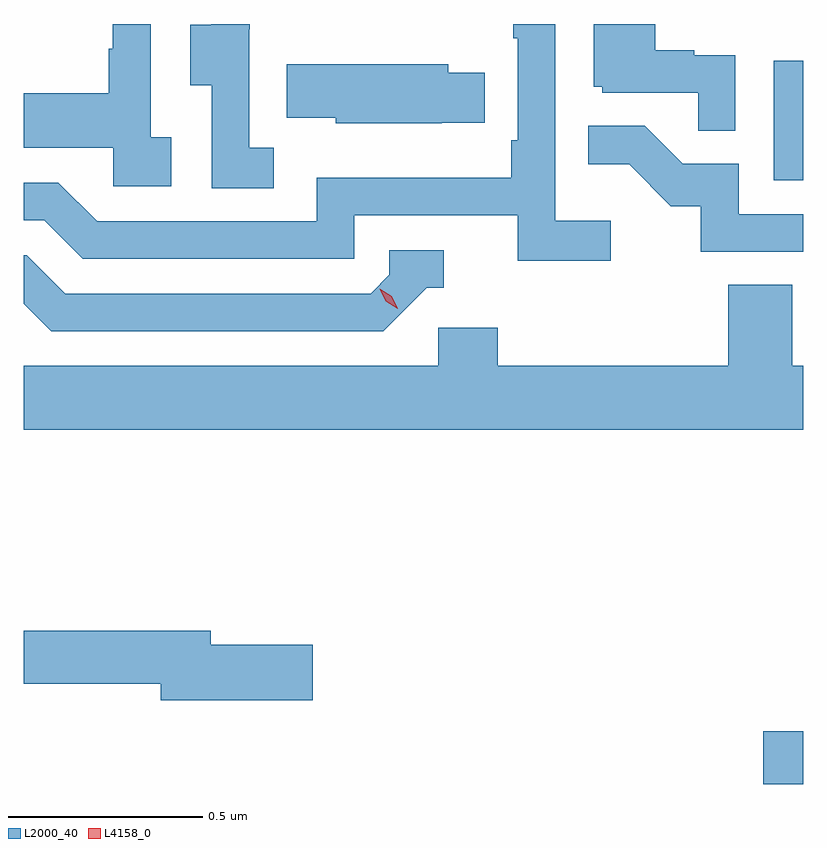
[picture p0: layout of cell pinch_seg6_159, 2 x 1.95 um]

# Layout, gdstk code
import gdstk
lib = gdstk.Library(unit=1e-6, precision=1e-09)
def R(c, l, rs):  # rectangles x0, y0, x1, y1
    for r in rs: c.add(gdstk.rectangle(r[:2], r[2:], *l))
def P(c, l, *ps):  # polygons
    for p in ps: c.add(gdstk.Polygon(p, *l))
L2000_40 = (2000, 40)
L4158_0 = (4158, 0)

pinch_seg6_159 = lib.new_cell('pinch_seg6_159')
R(pinch_seg6_159, L2000_40, [(962.538,934.439,962.64,934.574), (962.564,935.988,962.64,936.295)])
P(pinch_seg6_159, L2000_40, [(962.146,935.884),(962.004,935.884),(962.004,936.389),(961.896,936.389),(961.896,936.352),(961.908,936.352),(961.908,936.091),(961.891,936.091),(961.891,935.995),(961.392,935.995),(961.392,935.883),(960.828,935.883),(960.729,935.982),(960.64,935.982),(960.64,935.886),(960.692,935.886),(960.791,935.787),(961.488,935.787),(961.488,935.898),(961.907,935.898),(961.907,935.782),(962.146,935.782)],
  [(962.466,936.309),(962.36,936.309),(962.36,936.322),(962.26,936.322),(962.26,936.389),(962.102,936.389),(962.102,936.228),(962.124,936.228),(962.124,936.213),(962.371,936.213),(962.371,936.115),(962.466,936.115)],
  [(961.282,936.071),(961.218,936.071),(961.218,936.375),(961.22,936.375),(961.22,936.389),(961.121,936.389),(961.121,936.387),(961.067,936.387),(961.067,936.232),(961.122,936.232),(961.122,935.968),(961.282,935.968)],
  [(961.018,936.098),(960.966,936.098),(960.966,936.389),(960.868,936.389),(960.868,936.326),(960.858,936.326),(960.858,936.211),(960.64,936.211),(960.64,936.071),(960.87,936.071),(960.87,935.973),(961.018,935.973)],
  [(961.712,936.135),(961.823,936.135),(961.823,936.264),(961.729,936.264),(961.729,936.286),(961.315,936.286),(961.315,936.149),(961.44,936.149),(961.44,936.134),(961.712,936.134)],
  [(962.64,935.901),(962.475,935.901),(962.475,936.03),(962.331,936.03),(962.233,936.128),(962.089,936.128),(962.089,936.029),(962.193,936.029),(962.3,935.922),(962.377,935.922),(962.377,935.805),(962.64,935.805)],
  [(961.674,935.712),(961.717,935.712),(961.717,935.808),(961.578,935.808),(961.578,935.745),(961.53,935.697),(960.747,935.697),(960.648,935.796),(960.64,935.796),(960.64,935.671),(960.71,935.601),(961.563,935.601)],
  [(962.64,935.512),(962.612,935.512),(962.612,935.72),(962.447,935.72),(962.447,935.512),(961.856,935.512),(961.856,935.61),(961.704,935.61),(961.704,935.512),(960.64,935.512),(960.64,935.348),(962.64,935.348)],
  [(961.381,934.796),(961.12,934.796),(961.12,934.832),(960.64,934.832),(960.64,934.696),(960.992,934.696),(960.992,934.654),(961.381,934.654)])
P(pinch_seg6_159, L4158_0, [(961.6,935.658),(961.569,935.677),(961.553,935.71),(961.553,935.71),(961.553,935.71),(961.584,935.691),(961.6,935.658),(961.6,935.658)])

lib.write_gds('pinch_seg6_159.gds')
